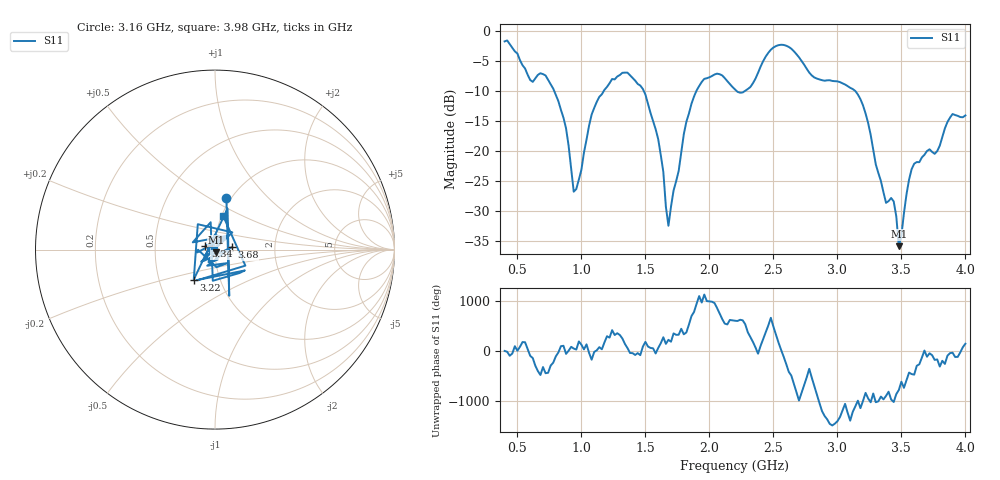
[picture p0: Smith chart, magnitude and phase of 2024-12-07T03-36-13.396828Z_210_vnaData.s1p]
!Created with skrf (http://scikit-rf.org).
# Hz S RI R 50.0
!freq ReS11 ImS11
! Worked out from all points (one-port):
!   181 points, 400 MHz to 4 GHz, reference 50 ohm
!   lowest |S11| = -35.8 dB at 3.48 GHz (marker M1), VSWR 1.03, Z = 50.6 - j1.5 ohm
!   |S11| at or under -10 dB: 786.6 MHz to 1.176 GHz (389.1 MHz wide, 39.7 % of centre); 1.487 GHz to 1.899 GHz (412.3 MHz wide, 24.4 % of centre); 3.138 GHz to end of sweep (the widest 3 of 4)
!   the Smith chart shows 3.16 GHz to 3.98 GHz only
!   S11 on the Smith chart (normalised r, x): 3.16 GHz: 0.95, +0.60; 3.22 GHz: 0.75, -0.26; 3.34 GHz: 0.90, +0.03; 3.68 GHz: 1.20, +0.03; 3.98 GHz: 1.02, +0.39
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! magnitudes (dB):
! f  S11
! 400 MHz  -1.8
! 600 MHz  -8.2
! 720 MHz  -7.5
! 860 MHz  -14.5
! 940 MHz  -26.8
! 1.1 GHz  -12.8
! 1.3 GHz  -7.4
! 1.5 GHz  -10.6
! 1.6 GHz  -18.0
! 1.68 GHz  -32.4
! 1.76 GHz  -23.3
! 1.82 GHz  -15.1
! 1.94 GHz  -8.5
! 2.2 GHz  -9.8
! 2.32 GHz  -9.4
! 2.5 GHz  -2.8
! 2.66 GHz  -3.4
! 3.1 GHz  -9.5
! 3.16 GHz  -10.6
! 3.22 GHz  -13.8
! 3.34 GHz  -25.0
! 3.38 GHz  -28.6
! 3.44 GHz  -28.4
! 3.48 GHz  -35.8
! 3.56 GHz  -24.8
! 3.68 GHz  -20.6
! 3.98 GHz  -14.4
! 4 GHz  -14.1
